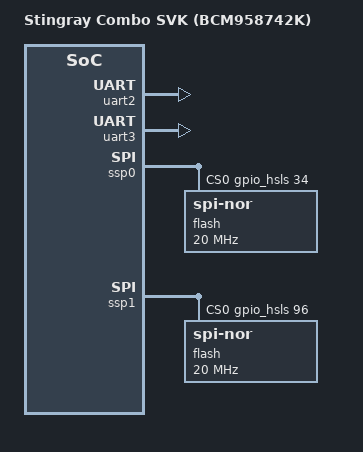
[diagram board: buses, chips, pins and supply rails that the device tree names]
/dts-v1/;
#include "bcm958742-base.dtsi"
/ {
	compatible = "brcm,bcm958742k", "brcm,stingray";
	model = "Stingray Combo SVK (BCM958742K)";
};
&gphy0 {
	enet-phy-lane-swap;
};
&sdio0 {
	mmc-ddr-1_8v;
};
&uart2 {
	status = "okay";
};
&uart3 {
	status = "okay";
};
&ssp0 {
	pinctrl-0 = <&spi0_pins>;
	pinctrl-names = "default";
	cs-gpios = <&gpio_hsls 34 0>;
	status = "okay";
	flash@0 {
		compatible = "jedec,spi-nor";
		reg = <0>;
		spi-max-frequency = <20000000>;
		#address-cells = <1>;
		#size-cells = <1>;
	};
};
&ssp1 {
	pinctrl-0 = <&spi1_pins>;
	pinctrl-names = "default";
	cs-gpios = <&gpio_hsls 96 0>;
	status = "okay";
	flash@0 {
		compatible = "jedec,spi-nor";
		reg = <0>;
		spi-max-frequency = <20000000>;
		#address-cells = <1>;
		#size-cells = <1>;
	};
};
